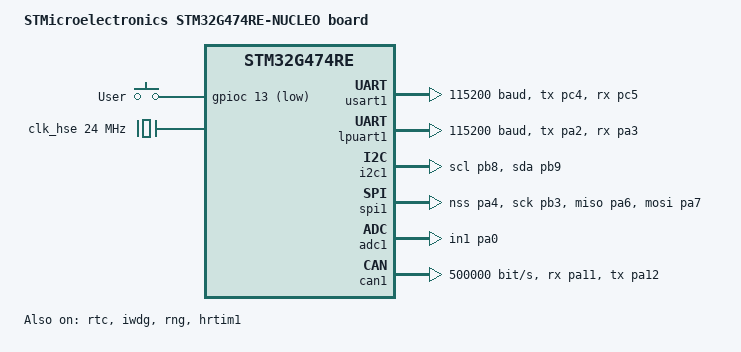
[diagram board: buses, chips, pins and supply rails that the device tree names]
/*
 * Copyright (c) 2019 STMicroelectronics.
 *
 * SPDX-License-Identifier: Apache-2.0
 */

/*
 * This is a dummy charge controller board for testing new features using the STM32G474 MCU
 *
 * IMPORTANT: You have to remove the VREF jumper on the Nucleo board to make it work. Otherwise
 *            the MCU will get stuck while trying to generate a reference voltage at VREF+ pin.
 */

/dts-v1/;
#include <st/g4/stm32g474Xe.dtsi>
#include <st/g4/stm32g474r(b-c-e)tx-pinctrl.dtsi>

/ {
	model = "STMicroelectronics STM32G474RE-NUCLEO board";
	compatible = "st,stm32g474re-nucleo";

	pcb {
		compatible = "charge-controller";

		type = "Nucleo G474 dummy charge controller";
		version-str = "v0.1";
		version-num = <1>;

		hs-voltage-max = <80>;
		ls-voltage-max = <32>;
		dcdc-current-max = <20>;
	};

	chosen {
		zephyr,console = &lpuart1;
		zephyr,shell-uart = &lpuart1;
		zephyr,sram = &sram0;
		zephyr,flash = &flash0;
		zephyr,can-primary = &can1;
	};

	leds {
		compatible = "charlieplexing-leds";
		gpios = <&gpioa 5 GPIO_ACTIVE_HIGH>;

		pwr {
			states = <1>;
		};
	};

	outputs {
		compatible = "outputs";

		can_en {
			label = "CAN disable / standby";
			gpios = <&gpiob 11 GPIO_ACTIVE_LOW>;
		};
	};

	adc-inputs {
		compatible = "adc-inputs";

		v-low {
			io-channels = <&adc1 12>;
			multiplier = <105600>;
			divider = <5600>;
		};

		v-high {
			io-channels = <&adc1 15>;
			multiplier = <102200>;
			divider = <2200>;
		};

		vref-mcu {
			io-channels = <&adc1 18>;
			multiplier = <1>;
			divider = <1>;
		};

		temp-mcu {
			io-channels = <&adc1 16>;
			multiplier = <1>;
			divider = <1>;
		};

		i-dcdc {
			io-channels = <&adc2 1>;
			// amp gain: 25, resistor: 2 mOhm
			multiplier = <1000>;	// 1000
			divider = <50>;	// 2*25
		};
	};

	gpio_keys {
		compatible = "gpio-keys";
		user_button: button {
			label = "User";
			gpios = <&gpioc 13 GPIO_ACTIVE_LOW>;
		};
	};

	aliases {
		sw0 = &user_button;
		uart-dbg = &lpuart1;
		uart-uext = &usart1;
		spi-uext = &spi1;
		i2c-uext = &i2c1;
	};

	soc {
		hrtim1: timers@40016800 {
			compatible = "st,stm32-timers";
			reg = <0x40016800 0x400>;
			clocks = <&rcc STM32_CLOCK_BUS_APB2 0x04000000>;
			interrupts = <67 0>, <68 0>, <69 0>, <70 0>,
				     <71 0>, <72 0>, <73 0>, <74 0>;
			interrupt-names = "master", "tima", "timb", "timc",
					  "timd", "time", "flt", "timf";
			status = "okay";
			label = "HRTIM_1";
		};

		/* below nodes are required until following PR is merged:
		 * https://github.com/zephyrproject-rtos/hal_stm32/pull/87
		 */
		pinctrl: pin-controller@48000000 {
			hrtim1_cha1_pa8: hrtim1_cha1_pa8 {
				pinmux = <STM32_PINMUX('A', 8, AF13)>;
			};

			hrtim1_cha2_pa9: hrtim1_cha2_pa9 {
				pinmux = <STM32_PINMUX('A', 9, AF13)>;
			};

			hrtim1_chb1_pa10: hrtim1_chb1_pa10 {
				pinmux = <STM32_PINMUX('A', 10, AF13)>;
			};

			hrtim1_chb2_pa11: hrtim1_chb2_pa11 {
				pinmux = <STM32_PINMUX('A', 11, AF13)>;
			};

			hrtim1_chc1_pb12: hrtim1_chc1_pb12 {
				pinmux = <STM32_PINMUX('B', 12, AF13)>;
			};

			hrtim1_chc2_pb13: hrtim1_chc2_pb13 {
				pinmux = <STM32_PINMUX('B', 13, AF13)>;
			};

			hrtim1_chd1_pb14: hrtim1_chd1_pb14 {
				pinmux = <STM32_PINMUX('B', 14, AF13)>;
			};

			hrtim1_chd2_pb15: hrtim1_chd2_pb15 {
				pinmux = <STM32_PINMUX('B', 15, AF13)>;
			};
		};
	};
};

&clk_hse {
	clock-frequency = <DT_FREQ_M(24)>;
	status = "okay";
};

&pll {
	div-m = <6>;
	mul-n = <85>;
	div-p = <7>;
	div-q = <2>;
	div-r = <2>;
	clocks = <&clk_hse>;
	status = "okay";
};

&rcc {
	clocks = <&pll>;
	clock-frequency = <DT_FREQ_M(170)>;
	ahb-prescaler = <1>;
	apb1-prescaler = <1>;
	apb2-prescaler = <1>;
};

&usart1 {
	pinctrl-0 = <&usart1_tx_pc4 &usart1_rx_pc5>;
	current-speed = <115200>;
	status = "okay";
};

&lpuart1 {
	pinctrl-0 = <&lpuart1_tx_pa2 &lpuart1_rx_pa3>;
	current-speed = <115200>;
	status = "okay";
};

&i2c1 {
	pinctrl-0 = <&i2c1_scl_pb8 &i2c1_sda_pb9>;
	status = "okay";
};

&spi1 {
	pinctrl-0 = <&spi1_nss_pa4 &spi1_sck_pb3
		     &spi1_miso_pa6 &spi1_mosi_pa7>;
	status = "okay";
};

&hrtim1 {
	status = "okay";

	halfbridge {
		compatible = "half-bridge";
		pinctrl-0 = <&hrtim1_cha1_pa8 &hrtim1_cha2_pa9>;
		frequency = <70000>;
		deadtime = <300>;
	};
};

/*
// alternative to HRTIM
&timers1 {
	status = "okay";

	halfbridge {
		compatible = "half-bridge";
		pinctrl-0 = <&tim1_ch1_pa8 &tim1_ch1n_pb13>;
		frequency = <70000>;
		deadtime = <300>;
	};
};
*/

&rtc {
	status = "okay";
};

&flash0 {
	/*
	 * For more information, see:
	 * http://docs.zephyrproject.org/latest/guides/dts/index.html#flash-partitions
	 */
	partitions {
		compatible = "fixed-partitions";
		#address-cells = <1>;
		#size-cells = <1>;

		/* Set 2Kb of storage at the end of the 128Kb of flash */
		storage_partition: partition@1f800 {
			label = "storage";
			reg = <0x0001f800 0x00000800>;
		};
	};
};

&iwdg {
	status = "okay";
};

&rng {
	status = "okay";
};

&adc1 {
	pinctrl-0 = <&adc1_in1_pa0>;
	status = "okay";
};

&can1 {
	pinctrl-0 = <&fdcan1_rx_pa11 &fdcan1_tx_pa12>;
	bus-speed = <500000>;
	bus-speed-data = <500000>;
	sjw = <1>;
	sjw-data = <1>;
	sample-point = <875>;
	sample-point-data = <875>;
	status = "okay";
};
